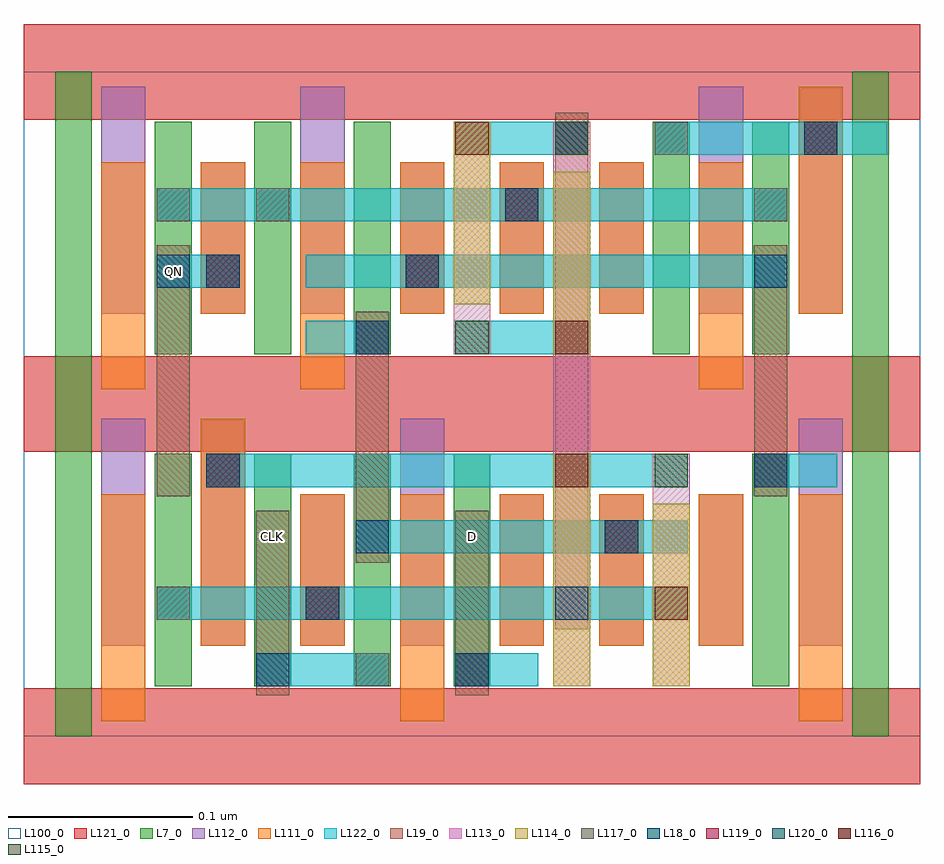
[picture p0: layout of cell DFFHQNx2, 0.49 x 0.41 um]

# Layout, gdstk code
import gdstk
lib = gdstk.Library(unit=1e-6, precision=2.5e-10)
def R(c, l, rs):  # rectangles x0, y0, x1, y1
    for r in rs: c.add(gdstk.rectangle(r[:2], r[2:], *l))
def A(c, l, x, y, w, h, nx, ny, dx, dy):  # array of equal rectangles
    R(c, l, [(x+i*dx, y+j*dy, x+i*dx+w, y+j*dy+h) for i in range(nx) for j in range(ny)])
L7_0 = (7, 0)
L18_0 = (18, 0)
L19_0 = (19, 0)
L100_0 = (100, 0)
L111_0 = (111, 0)
L112_0 = (112, 0)
L113_0 = (113, 0)
L114_0 = (114, 0)
L115_0 = (115, 0)
L116_0 = (116, 0)
L117_0 = (117, 0)
L119_0 = (119, 0)
L120_0 = (120, 0)
L121_0 = (121, 0)
L122_0 = (122, 0)

dffhqnx2 = lib.new_cell('DFFHQNx2')
A(dffhqnx2, L7_0, 0.071, 0.027, 0.02, 0.126, 4, 1, 0.054, 0)
A(dffhqnx2, L7_0, 0.071, 0.207, 0.02, 0.126, 3, 1, 0.054, 0)
R(dffhqnx2, L7_0, [(0.017,0,0.037,0.18), (0.449,0,0.469,0.18), (0.395,0.027,0.415,0.153), (0.017,0.18,0.037,0.36), (0.449,0.18,0.469,0.36), (0.341,0.207,0.361,0.333), (0.395,0.207,0.415,0.333)])
R(dffhqnx2, L18_0, [(0.126,0.027,0.144,0.045), (0.234,0.027,0.252,0.045), (0.288,0.063,0.306,0.081), (0.18,0.099,0.198,0.117), (0.396,0.135,0.414,0.153), (0.18,0.207,0.198,0.225), (0.072,0.243,0.09,0.261), (0.396,0.243,0.414,0.261), (0.288,0.315,0.306,0.333)])
R(dffhqnx2, L19_0, [(0.126,0.022,0.144,0.122), (0.234,0.022,0.252,0.122), (0.288,0.058,0.306,0.338), (0.18,0.094,0.198,0.23), (0.072,0.13,0.09,0.266), (0.396,0.13,0.414,0.266)])
R(dffhqnx2, L100_0, [(0,0,0.486,0.36)])
A(dffhqnx2, L111_0, 0.258, 0.049, 0.024, 0.082, 3, 1, 0.054, 0)
A(dffhqnx2, L111_0, 0.204, 0.229, 0.024, 0.082, 3, 1, 0.054, 0)
R(dffhqnx2, L111_0, [(0.042,0.008,0.066,0.131), (0.204,0.008,0.228,0.131), (0.42,0.008,0.444,0.131), (0.096,0.049,0.12,0.172), (0.15,0.049,0.174,0.131), (0.042,0.188,0.066,0.311), (0.15,0.188,0.174,0.311), (0.366,0.188,0.39,0.311), (0.096,0.229,0.12,0.311), (0.42,0.229,0.444,0.352)])
A(dffhqnx2, L112_0, 0.258, 0.049, 0.024, 0.082, 3, 1, 0.054, 0)
A(dffhqnx2, L112_0, 0.204, 0.229, 0.024, 0.082, 3, 1, 0.054, 0)
R(dffhqnx2, L112_0, [(0.042,0.049,0.066,0.172), (0.096,0.049,0.12,0.172), (0.15,0.049,0.174,0.131), (0.204,0.049,0.228,0.172), (0.42,0.049,0.444,0.172), (0.042,0.229,0.066,0.352), (0.096,0.229,0.12,0.311), (0.15,0.229,0.174,0.352), (0.366,0.229,0.39,0.352), (0.42,0.229,0.444,0.352)])
R(dffhqnx2, L113_0, [(0.287,0.027,0.307,0.18), (0.341,0.027,0.361,0.153), (0.287,0.18,0.307,0.333), (0.233,0.207,0.253,0.333)])
R(dffhqnx2, L114_0, [(0.287,0.027,0.307,0.153), (0.341,0.027,0.361,0.126), (0.287,0.207,0.307,0.306), (0.233,0.234,0.253,0.333)])
R(dffhqnx2, L115_0, [(0.342,0.135,0.36,0.153), (0.234,0.207,0.252,0.225), (0.288,0.315,0.306,0.333)])
R(dffhqnx2, L116_0, [(0.342,0.063,0.36,0.081), (0.288,0.135,0.306,0.153), (0.288,0.207,0.306,0.225), (0.234,0.315,0.252,0.333)])
R(dffhqnx2, L117_0, [(0.18,0.027,0.198,0.045), (0.234,0.027,0.252,0.045), (0.072,0.063,0.09,0.081), (0.396,0.135,0.414,0.153), (0.18,0.207,0.198,0.225), (0.072,0.279,0.09,0.297), (0.126,0.279,0.144,0.297), (0.396,0.279,0.414,0.297), (0.342,0.315,0.36,0.333)])
R(dffhqnx2, L119_0, [(0.153,0.063,0.171,0.081), (0.315,0.099,0.333,0.117), (0.099,0.135,0.117,0.153), (0.099,0.243,0.117,0.261), (0.207,0.243,0.225,0.261), (0.261,0.279,0.279,0.297), (0.423,0.315,0.441,0.333)])
R(dffhqnx2, L120_0, [(0.153,0.063,0.171,0.081), (0.315,0.099,0.333,0.117), (0.099,0.135,0.117,0.153), (0.099,0.243,0.117,0.261), (0.207,0.243,0.225,0.261), (0.261,0.279,0.279,0.297), (0.423,0.315,0.441,0.333)])
A(dffhqnx2, L121_0, 0, -0.026, 0.486, 0.052, 1, 3, 0, 0.18)
R(dffhqnx2, L122_0, [(0.126,0.027,0.198,0.045), (0.234,0.027,0.279,0.045), (0.072,0.063,0.36,0.081), (0.18,0.099,0.36,0.117), (0.099,0.135,0.36,0.153), (0.396,0.135,0.441,0.153), (0.153,0.207,0.198,0.225), (0.234,0.207,0.306,0.225), (0.072,0.243,0.117,0.261), (0.153,0.243,0.414,0.261), (0.072,0.279,0.414,0.297), (0.234,0.315,0.306,0.333), (0.342,0.315,0.468,0.333)])
dffhqnx2.add(gdstk.Label('QN', (0.081,0.252), layer=19, texttype=251))
dffhqnx2.add(gdstk.Label('D', (0.243,0.108), layer=19, texttype=251))
dffhqnx2.add(gdstk.Label('CLK', (0.135,0.108), layer=19, texttype=251))

lib.write_gds('DFFHQNx2.gds')
